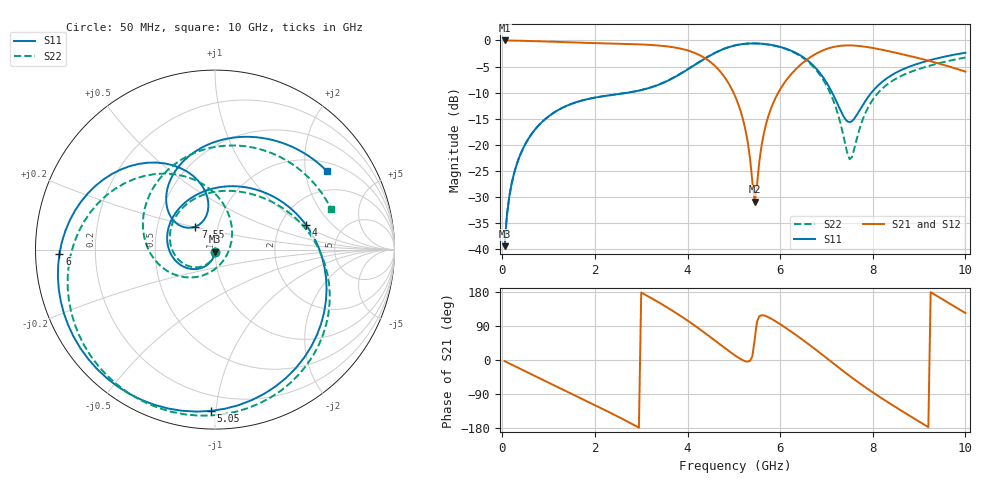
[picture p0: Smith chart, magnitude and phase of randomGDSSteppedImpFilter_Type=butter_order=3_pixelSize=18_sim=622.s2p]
! freq	dB(S11)	phase(S11)	dB(S12)	phase(S12)
!  dB(S21)	phase(S21)	dB(S22)	phase(S22)
!S-par simulation data
#  GHz  S  DB  R 50
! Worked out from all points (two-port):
!   200 points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, 50 MHz to 10 GHz, reference 50 ohm
!   highest |S21| = -0.01 dB at 50 MHz (marker M1); lowest = -30.9 dB at 5.45 GHz (marker M2)
!   |S21| within 3 dB of the highest: start of sweep to 4.302 GHz; 6.687 GHz to 8.81 GHz (2.123 GHz wide, 27.4 % of centre)
!   lowest |S11| = -39.4 dB at 50 MHz (marker M3), VSWR 1.02, Z = 49.9 - j1.07 ohm
!   |S11| at or under -10 dB: start of sweep to 2.722 GHz; 7.122 GHz to 7.973 GHz (850.4 MHz wide, 11.3 % of centre)
!   |S22| runs from -39.4 to -0.6 dB; largest |S21 - S12| = 0
!   S11 on the Smith chart (normalised r, x): 50 MHz: 1.00, -0.02; 4 GHz: 2.77, +1.05; 5.05 GHz: 0.10, -0.97; 6 GHz: 0.07, -0.01; 7.55 GHz: 0.78, +0.21; 10 GHz: 1.27, +2.63
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0.05  -39.42 -92.3  -0.01 -3.1  -0.01 -3.1  -39.42 -92.6
0.2  -27.51 -101.3  -0.03 -12.1  -0.03 -12.1  -27.51 -102.6
0.5  -19.82 -118.8  -0.09 -30.0  -0.09 -30.0  -19.82 -122.2
1.15  -13.63 -155.2  -0.28 -68.5  -0.28 -68.5  -13.63 -163.3
1.75  -11.44 171.8  -0.45 -104.0  -0.45 -104.0  -11.44 158.7
2.65  -10.10 119.9  -0.66 -159.0  -0.66 -159.0  -10.08 100.5
3.4  -8.41 67.4  -1.00 150.5  -1.00 150.5  -8.36 51.6
4  -5.58 15.0  -1.91 104.1  -1.91 104.1  -5.52 10.5
4.55  -2.60 -40.0  -4.54 55.2  -4.54 55.2  -2.55 -33.7
5.05  -0.92 -91.6  -11.15 10.0  -11.15 10.0  -0.89 -78.3
5.3  -0.61 -116.0  -19.48 -4.3  -19.48 -4.3  -0.60 -100.5
5.45  -0.57 -130.1  -30.92 54.0  -30.92 54.0  -0.57 -113.6
5.65  -0.67 -148.2  -17.72 117.6  -17.72 117.6  -0.69 -130.8
6  -1.24 -178.5  -9.38 94.5  -9.38 94.5  -1.29 -160.9
6.7  -4.67 123.9  -2.93 33.8  -2.93 33.8  -4.92 133.7
7.15  -10.48 98.4  -1.26 -9.1  -1.26 -9.1  -11.57 80.7
7.55  -15.48 130.5  -0.96 -46.6  -0.96 -46.6  -22.34 -51.6
7.9  -10.83 144.7  -1.30 -77.1  -1.30 -77.1  -12.84 -137.6
8.35  -6.97 125.0  -2.07 -113.3  -2.07 -113.3  -8.18 173.6
8.75  -5.17 102.9  -2.88 -143.7  -2.88 -143.7  -6.27 135.3
9.25  -3.75 75.3  -4.00 179.0  -4.00 179.0  -4.79 87.9
10  -2.37 35.0  -5.97 124.0  -5.97 124.0  -3.28 19.3
